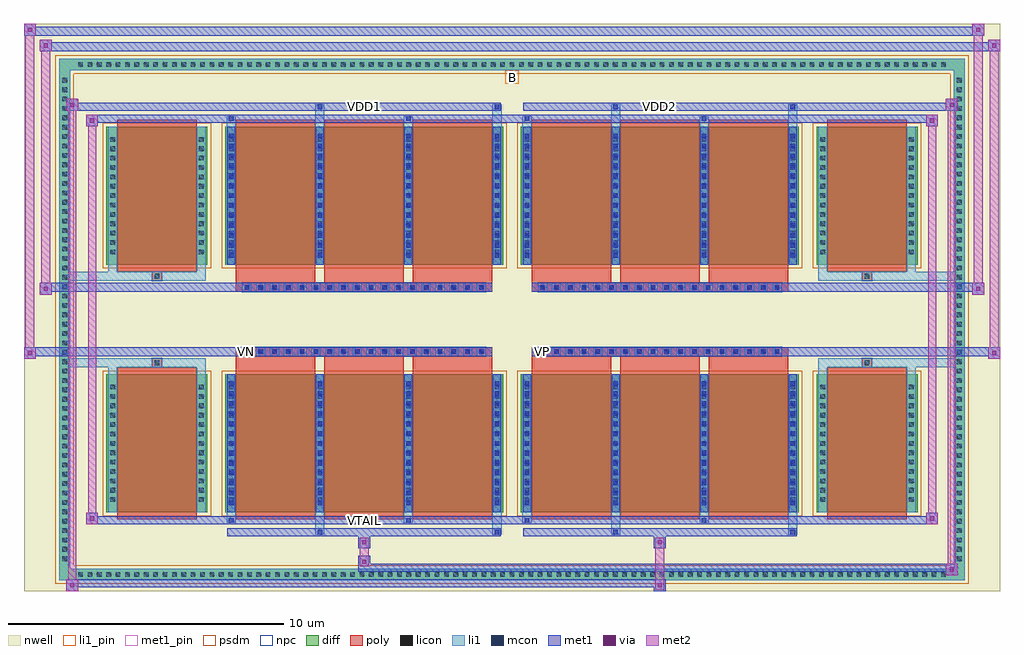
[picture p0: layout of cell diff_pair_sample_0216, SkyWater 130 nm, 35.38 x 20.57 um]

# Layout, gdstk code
import gdstk
lib = gdstk.Library(unit=1e-6, precision=5e-09)
def R(c, l, rs):  # rectangles x0, y0, x1, y1
    for r in rs: c.add(gdstk.rectangle(r[:2], r[2:], *l))
def A(c, l, x, y, w, h, nx, ny, dx, dy):  # array of equal rectangles
    R(c, l, [(x+i*dx, y+j*dy, x+i*dx+w, y+j*dy+h) for i in range(nx) for j in range(ny)])
def P(c, l, *ps):  # polygons
    for p in ps: c.add(gdstk.Polygon(p, *l))
nwell = (64, 20)
diff = (65, 20)
poly = (66, 20)
licon = (66, 44)
li1_pin = (67, 16)
li1 = (67, 20)
mcon = (67, 44)
met1_pin = (68, 16)
met1 = (68, 20)
via = (68, 44)
met2 = (69, 20)
psdm = (94, 20)
npc = (95, 20)

diff_pair_sample_0216 = lib.new_cell('diff_pair_sample_0216')
R(diff_pair_sample_0216, nwell, [(-17.69,-9.85,17.69,10.72), (-15.01,-8.04,-0.01,-0.8), (0.01,-8.04,15.01,-0.8), (-15.01,0.8,-0.01,8.04), (0.01,0.8,15.01,8.04)])
A(diff_pair_sample_0216, diff, -15.845, -9.45, 0.41, 0.41, 93, 2, 0.34, 18.49)
A(diff_pair_sample_0216, diff, -16.42, -8.875, 0.41, 0.41, 1, 52, 0, 0.34)
A(diff_pair_sample_0216, diff, 16.01, -8.875, 0.41, 0.41, 1, 52, 0, 0.34)
R(diff_pair_sample_0216, diff, [(-15.845,-9.45,15.845,-9.04), (-16.42,-8.875,-16.01,8.875), (16.01,-8.875,16.42,8.875), (-14.7,-6.995,-11.04,-1.985), (-10.4,-6.995,-0.32,-1.985), (0.32,-6.995,10.4,-1.985), (11.04,-6.995,14.7,-1.985), (-14.7,1.985,-11.04,6.995), (-10.4,1.985,-0.32,6.995), (0.32,1.985,10.4,6.995), (11.04,1.985,14.7,6.995), (-15.845,9.04,15.845,9.45)])
P(diff_pair_sample_0216, diff, [(16.42,9.45),(-16.42,9.45),(-16.42,-9.04),(-16.01,-9.04),(-16.01,9.04),(16.01,9.04),(16.01,-9.04),(-16.01,-9.04),(-16.42,-9.04),(-16.42,-9.45),(16.42,-9.45)])
A(diff_pair_sample_0216, poly, -10.01, -7.245, 2.88, 5.51, 3, 2, 3.21, 8.98)
A(diff_pair_sample_0216, poly, 0.71, -7.245, 2.88, 5.51, 3, 2, 3.21, 8.98)
A(diff_pair_sample_0216, poly, -10.01, -1.735, 2.88, 0.405, 3, 2, 3.21, 3.065)
A(diff_pair_sample_0216, poly, 0.71, -1.735, 2.88, 0.405, 3, 2, 3.21, 3.065)
A(diff_pair_sample_0216, poly, -9.775, -1.33, 0.33, 0.33, 18, 2, 0.5, 2.33)
A(diff_pair_sample_0216, poly, 0.945, -1.33, 0.33, 0.33, 18, 2, 0.5, 2.33)
R(diff_pair_sample_0216, poly, [(-14.31,-7.245,-11.43,-1.735), (11.43,-7.245,14.31,-1.735), (-13.035,-1.735,-12.705,-1.405), (-13.035,-1.735,-12.705,-1.405), (12.705,-1.735,13.035,-1.405), (12.705,-1.735,13.035,-1.405), (-10.01,-1.33,-0.71,-1), (0.71,-1.33,10.01,-1), (-10.01,1,-0.71,1.33), (0.71,1,10.01,1.33), (-13.035,1.405,-12.705,1.735), (-13.035,1.405,-12.705,1.735), (12.705,1.405,13.035,1.735), (12.705,1.405,13.035,1.735), (-14.31,1.735,-11.43,7.245), (11.43,1.735,14.31,7.245)])
A(diff_pair_sample_0216, licon, -15.725, -9.33, 0.17, 0.17, 93, 2, 0.34, 18.49)
A(diff_pair_sample_0216, licon, -16.3, -8.755, 0.17, 0.17, 1, 52, 0, 0.34)
A(diff_pair_sample_0216, licon, 16.13, -8.755, 0.17, 0.17, 1, 52, 0, 0.34)
A(diff_pair_sample_0216, licon, -14.56, -6.615, 0.17, 0.17, 1, 13, 0, 0.34)
A(diff_pair_sample_0216, licon, -11.35, -6.615, 0.17, 0.17, 1, 13, 0, 0.34)
A(diff_pair_sample_0216, licon, -10.26, -6.615, 0.17, 0.17, 4, 13, 3.21, 0.34)
A(diff_pair_sample_0216, licon, 0.46, -6.615, 0.17, 0.17, 4, 13, 3.21, 0.34)
A(diff_pair_sample_0216, licon, 11.18, -6.615, 0.17, 0.17, 1, 13, 0, 0.34)
A(diff_pair_sample_0216, licon, 14.39, -6.615, 0.17, 0.17, 1, 13, 0, 0.34)
A(diff_pair_sample_0216, licon, -9.695, -1.25, 0.17, 0.17, 18, 2, 0.5, 2.33)
A(diff_pair_sample_0216, licon, 1.025, -1.25, 0.17, 0.17, 18, 2, 0.5, 2.33)
A(diff_pair_sample_0216, licon, -14.56, 2.365, 0.17, 0.17, 1, 13, 0, 0.34)
A(diff_pair_sample_0216, licon, -11.35, 2.365, 0.17, 0.17, 1, 13, 0, 0.34)
A(diff_pair_sample_0216, licon, -10.26, 2.365, 0.17, 0.17, 4, 13, 3.21, 0.34)
A(diff_pair_sample_0216, licon, 0.46, 2.365, 0.17, 0.17, 4, 13, 3.21, 0.34)
A(diff_pair_sample_0216, licon, 11.18, 2.365, 0.17, 0.17, 1, 13, 0, 0.34)
A(diff_pair_sample_0216, licon, 14.39, 2.365, 0.17, 0.17, 1, 13, 0, 0.34)
R(diff_pair_sample_0216, licon, [(-12.955,-1.655,-12.785,-1.485), (12.785,-1.655,12.955,-1.485), (-12.955,1.485,-12.785,1.655), (12.785,1.485,12.955,1.655)])
R(diff_pair_sample_0216, li1_pin, [(-0.25,8.54,0.25,9.04)])
A(diff_pair_sample_0216, li1, -15.805, -9.41, 0.33, 0.33, 93, 2, 0.34, 18.49)
A(diff_pair_sample_0216, li1, -16.38, -8.835, 0.33, 0.33, 1, 52, 0, 0.34)
A(diff_pair_sample_0216, li1, 16.05, -8.835, 0.33, 0.33, 1, 52, 0, 0.34)
A(diff_pair_sample_0216, li1, -10.34, -6.995, 0.33, 5.01, 4, 2, 3.21, 8.98)
A(diff_pair_sample_0216, li1, 0.38, -6.995, 0.33, 5.01, 4, 2, 3.21, 8.98)
A(diff_pair_sample_0216, li1, -10.26, -6.735, 0.17, 0.17, 4, 13, 3.21, 0.36)
A(diff_pair_sample_0216, li1, -10.26, -6.735, 0.17, 4.49, 4, 2, 3.21, 8.98)
A(diff_pair_sample_0216, li1, 0.46, -6.735, 0.17, 0.17, 4, 13, 3.21, 0.36)
A(diff_pair_sample_0216, li1, 0.46, -6.735, 0.17, 4.49, 4, 2, 3.21, 8.98)
A(diff_pair_sample_0216, li1, -14.64, -6.695, 0.33, 0.33, 1, 13, 0, 0.34)
A(diff_pair_sample_0216, li1, -11.43, -6.695, 0.33, 0.33, 1, 13, 0, 0.34)
A(diff_pair_sample_0216, li1, -10.34, -6.695, 0.33, 0.33, 4, 13, 3.21, 0.34)
A(diff_pair_sample_0216, li1, 0.38, -6.695, 0.33, 0.33, 4, 13, 3.21, 0.34)
A(diff_pair_sample_0216, li1, 11.1, -6.695, 0.33, 0.33, 1, 13, 0, 0.34)
A(diff_pair_sample_0216, li1, 14.31, -6.695, 0.33, 0.33, 1, 13, 0, 0.34)
A(diff_pair_sample_0216, li1, -9.775, -1.33, 0.33, 0.33, 18, 2, 0.5, 2.33)
A(diff_pair_sample_0216, li1, 0.945, -1.33, 0.33, 0.33, 18, 2, 0.5, 2.33)
A(diff_pair_sample_0216, li1, -10.26, 2.245, 0.17, 0.17, 4, 13, 3.21, 0.36)
A(diff_pair_sample_0216, li1, 0.46, 2.245, 0.17, 0.17, 4, 13, 3.21, 0.36)
A(diff_pair_sample_0216, li1, -14.64, 2.285, 0.33, 0.33, 1, 13, 0, 0.34)
A(diff_pair_sample_0216, li1, -11.43, 2.285, 0.33, 0.33, 1, 13, 0, 0.34)
A(diff_pair_sample_0216, li1, -10.34, 2.285, 0.33, 0.33, 4, 13, 3.21, 0.34)
A(diff_pair_sample_0216, li1, 0.38, 2.285, 0.33, 0.33, 4, 13, 3.21, 0.34)
A(diff_pair_sample_0216, li1, 11.1, 2.285, 0.33, 0.33, 1, 13, 0, 0.34)
A(diff_pair_sample_0216, li1, 14.31, 2.285, 0.33, 0.33, 1, 13, 0, 0.34)
R(diff_pair_sample_0216, li1, [(-16.42,-9.45,-16.01,-9.04), (-16.42,-9.45,-16.01,-9.04), (-16.01,-9.45,16.01,-9.04), (16.01,-9.45,16.42,-9.04), (16.01,-9.45,16.42,-9.04), (-16.42,-9.04,-16.01,9.04), (16.01,-9.04,16.42,9.04), (-7.13,-7.8,-6.8,-6.995), (-7.05,-7.8,-6.88,-7.63), (-0.71,-7.8,-0.38,-6.995), (-0.63,-7.8,-0.46,-7.63), (3.59,-7.8,3.92,-6.995), (3.67,-7.8,3.84,-7.63), (10.01,-7.8,10.34,-6.995), (10.09,-7.8,10.26,-7.63), (-10.34,-7.37,-10.01,-6.995), (-10.26,-7.37,-10.09,-7.2), (-3.92,-7.37,-3.59,-6.995), (-3.84,-7.37,-3.67,-7.2), (0.38,-7.37,0.71,-6.995), (0.46,-7.37,0.63,-7.2), (6.8,-7.37,7.13,-6.995), (6.88,-7.37,7.05,-7.2), (-14.64,-6.995,-14.31,-1.985), (-11.43,-6.995,-11.1,-1.985), (11.1,-6.995,11.43,-1.985), (14.31,-6.995,14.64,-1.985), (-14.64,-1.985,-14.31,-1.405), (-11.43,-1.985,-11.1,-1.405), (11.1,-1.985,11.43,-1.405), (14.31,-1.985,14.64,-1.405), (-16.42,-1.735,-13.035,-1.405), (-14.64,-1.735,-13.035,-1.405), (-13.035,-1.735,-12.705,-1.405), (-12.705,-1.735,-11.1,-1.405), (11.1,-1.735,12.705,-1.405), (12.705,-1.735,13.035,-1.405), (12.705,-1.735,16.42,-1.405), (13.035,-1.735,14.64,-1.405), (-16.42,1.405,-13.035,1.735), (-14.64,1.405,-13.035,1.735), (-14.64,1.405,-14.31,1.985), (-13.035,1.405,-12.705,1.735), (-12.705,1.405,-11.1,1.735), (-11.43,1.405,-11.1,1.985), (11.1,1.405,12.705,1.735), (11.1,1.405,11.43,1.985), (12.705,1.405,13.035,1.735), (12.705,1.405,16.42,1.735), (13.035,1.405,14.64,1.735), (14.31,1.405,14.64,1.985), (-14.64,1.985,-14.31,6.995), (-11.43,1.985,-11.1,6.995), (11.1,1.985,11.43,6.995), (14.31,1.985,14.64,6.995), (-10.34,6.995,-10.01,7.37), (-7.13,6.995,-6.8,7.8), (-3.92,6.995,-3.59,7.37), (-0.71,6.995,-0.38,7.8), (0.38,6.995,0.71,7.37), (3.59,6.995,3.92,7.8), (6.8,6.995,7.13,7.37), (10.01,6.995,10.34,7.8), (-10.26,7.2,-10.09,7.37), (-3.84,7.2,-3.67,7.37), (0.46,7.2,0.63,7.37), (6.88,7.2,7.05,7.37), (-7.05,7.63,-6.88,7.8), (-0.63,7.63,-0.46,7.8), (3.67,7.63,3.84,7.8), (10.09,7.63,10.26,7.8), (-16.42,9.04,-16.01,9.45), (-16.42,9.04,-16.01,9.45), (-16.01,9.04,16.01,9.45), (16.01,9.04,16.42,9.45), (16.01,9.04,16.42,9.45)])
A(diff_pair_sample_0216, mcon, -10.26, -6.735, 0.17, 0.17, 4, 13, 3.21, 0.36)
A(diff_pair_sample_0216, mcon, 0.46, -6.735, 0.17, 0.17, 4, 13, 3.21, 0.36)
A(diff_pair_sample_0216, mcon, -9.695, -1.25, 0.17, 0.17, 18, 2, 0.5, 2.33)
A(diff_pair_sample_0216, mcon, 1.025, -1.25, 0.17, 0.17, 18, 2, 0.5, 2.33)
A(diff_pair_sample_0216, mcon, -10.26, 2.245, 0.17, 0.17, 4, 13, 3.21, 0.36)
A(diff_pair_sample_0216, mcon, 0.46, 2.245, 0.17, 0.17, 4, 13, 3.21, 0.36)
R(diff_pair_sample_0216, mcon, [(-7.05,-7.8,-6.88,-7.63), (-0.63,-7.8,-0.46,-7.63), (3.67,-7.8,3.84,-7.63), (10.09,-7.8,10.26,-7.63), (-10.26,-7.37,-10.09,-7.2), (-3.84,-7.37,-3.67,-7.2), (0.46,-7.37,0.63,-7.2), (6.88,-7.37,7.05,-7.2), (-10.26,7.2,-10.09,7.37), (-3.84,7.2,-3.67,7.37), (0.46,7.2,0.63,7.37), (6.88,7.2,7.05,7.37), (-7.05,7.63,-6.88,7.8), (-0.63,7.63,-0.46,7.8), (3.67,7.63,3.84,7.8), (10.09,7.63,10.26,7.8)])
R(diff_pair_sample_0216, met1_pin, [(-5.495,-7.41,-5.225,-7.14), (-9.745,-1.29,-9.475,-1.02), (0.975,-1.29,1.245,-1.02), (-5.495,7.59,-5.225,7.86), (5.225,7.59,5.495,7.86)])
A(diff_pair_sample_0216, met1, -10.32, -6.995, 0.29, 5.01, 4, 2, 3.21, 8.98)
A(diff_pair_sample_0216, met1, 0.4, -6.995, 0.29, 5.01, 4, 2, 3.21, 8.98)
A(diff_pair_sample_0216, met1, -10.32, -6.795, 0.29, 0.29, 4, 13, 3.21, 0.36)
A(diff_pair_sample_0216, met1, 0.4, -6.795, 0.29, 0.29, 4, 13, 3.21, 0.36)
A(diff_pair_sample_0216, met1, -9.755, -1.31, 0.29, 0.29, 18, 2, 0.5, 2.33)
A(diff_pair_sample_0216, met1, 0.965, -1.31, 0.29, 0.29, 18, 2, 0.5, 2.33)
A(diff_pair_sample_0216, met1, -10.32, 2.185, 0.29, 0.29, 4, 13, 3.21, 0.36)
A(diff_pair_sample_0216, met1, 0.4, 2.185, 0.29, 0.29, 4, 13, 3.21, 0.36)
R(diff_pair_sample_0216, met1, [(-16.15,-9.85,-15.72,-9.42), (5.145,-9.85,5.575,-9.42), (-16.15,-9.71,5.575,-9.42), (15.72,-9.28,16.15,-8.85), (-5.575,-9.14,16.15,-8.85), (-5.575,-9,-5.145,-8.57), (-5.575,-8.29,-5.145,-7.86), (5.145,-8.29,5.575,-7.86), (-10.32,-7.86,-0.4,-7.57), (-7.11,-7.86,-6.82,-7.57), (-0.69,-7.86,-0.4,-7.57), (0.4,-7.86,10.32,-7.57), (3.61,-7.86,3.9,-7.57), (10.03,-7.86,10.32,-7.57), (-15.44,-7.43,-15.01,-7), (-15.44,-7.43,-10.32,-7.14), (-10.32,-7.43,-10.03,-7.14), (-10.32,-7.43,-0.4,-7.14), (-3.9,-7.43,-3.61,-7.14), (-0.4,-7.43,0.4,-7.14), (0.4,-7.43,0.69,-7.14), (0.4,-7.43,10.32,-7.14), (6.82,-7.43,7.11,-7.14), (10.32,-7.43,15.44,-7.14), (15.01,-7.43,15.44,-7), (-17.69,-1.43,-17.26,-1), (17.26,-1.43,17.69,-1), (-17.69,-1.33,-0.71,-1), (-10.01,-1.33,-0.71,-1), (0.71,-1.33,10.01,-1), (0.71,-1.33,17.69,-1), (-17.12,0.9,-16.69,1.33), (16.69,0.9,17.12,1.33), (-17.12,1,-10.01,1.33), (-10.01,1,-0.71,1.33), (0.71,1,10.01,1.33), (10.01,1,17.12,1.33), (-15.44,7,-15.01,7.43), (15.01,7,15.44,7.43), (-15.44,7.14,-10.32,7.43), (-10.32,7.14,-10.03,7.43), (-10.32,7.14,-0.4,7.43), (-3.9,7.14,-3.61,7.43), (-0.4,7.14,0.4,7.43), (0.4,7.14,0.69,7.43), (0.4,7.14,10.32,7.43), (6.82,7.14,7.11,7.43), (10.32,7.14,15.44,7.43), (-16.15,7.57,-15.72,8), (-16.15,7.57,-10.32,7.86), (-10.32,7.57,-0.4,7.86), (-7.11,7.57,-6.82,7.86), (-0.69,7.57,-0.4,7.86), (0.4,7.57,10.32,7.86), (3.61,7.57,3.9,7.86), (10.03,7.57,10.32,7.86), (10.32,7.57,16.15,7.86), (15.72,7.57,16.15,8), (-17.12,9.72,-16.69,10.15), (-17.12,9.72,-15.01,10.05), (-15.01,9.72,15.01,10.05), (15.01,9.72,17.69,10.05), (17.26,9.72,17.69,10.15), (-17.69,10.29,-17.26,10.72), (-17.69,10.29,-15.01,10.62), (-15.01,10.29,15.01,10.62), (15.01,10.29,17.12,10.62), (16.69,10.29,17.12,10.72)])
R(diff_pair_sample_0216, via, [(-16.01,-9.71,-15.86,-9.56), (5.285,-9.71,5.435,-9.56), (15.86,-9.14,16.01,-8.99), (-5.435,-8.86,-5.285,-8.71), (-5.435,-8.15,-5.285,-8), (5.285,-8.15,5.435,-8), (-15.3,-7.29,-15.15,-7.14), (15.15,-7.29,15.3,-7.14), (-17.55,-1.29,-17.4,-1.14), (17.4,-1.29,17.55,-1.14), (-16.98,1.04,-16.83,1.19), (16.83,1.04,16.98,1.19), (-15.3,7.14,-15.15,7.29), (15.15,7.14,15.3,7.29), (-16.01,7.71,-15.86,7.86), (15.86,7.71,16.01,7.86), (-16.98,9.86,-16.83,10.01), (17.4,9.86,17.55,10.01), (-17.55,10.43,-17.4,10.58), (16.83,10.43,16.98,10.58)])
R(diff_pair_sample_0216, met2, [(-16.15,-9.85,-15.72,-9.42), (-16.08,-9.85,-15.79,8), (-15.79,-9.85,-15.72,-9.42), (-16.1,-9.8,-15.77,-9.47), (5.195,-9.8,5.525,-9.47), (5.195,-9.47,5.525,-8.24), (15.72,-9.28,16.15,-8.85), (15.79,-9.28,16.08,8), (16.08,-9.28,16.15,-8.85), (15.77,-9.23,16.1,-8.9), (-5.525,-8.95,-5.195,-8.62), (-5.525,-8.62,-5.195,-8.24), (-5.525,-8.24,-5.195,-7.91), (5.195,-8.24,5.525,-7.91), (-15.44,-7.43,-15.01,-7), (-15.37,-7.43,-15.08,7.43), (-15.08,-7.43,-15.01,-7), (15.01,-7.43,15.44,-7), (15.08,-7.43,15.37,7.43), (15.37,-7.43,15.44,-7), (-15.39,-7.38,-15.06,-7.05), (15.06,-7.38,15.39,-7.05), (-17.69,-1.43,-17.26,-1), (-17.64,-1.43,-17.31,10.72), (-17.31,-1.43,-17.26,-1), (17.26,-1.43,17.69,-1), (17.31,-1.43,17.64,10.15), (17.64,-1.43,17.69,-1), (-17.64,-1.38,-17.31,-1.05), (17.31,-1.38,17.64,-1.05), (-17.12,0.9,-16.69,1.33), (-17.07,0.9,-16.74,10.15), (-16.74,0.9,-16.69,1.33), (16.69,0.9,17.12,1.33), (16.74,0.9,17.07,10.72), (17.07,0.9,17.12,1.33), (-17.07,0.95,-16.74,1.28), (16.74,0.95,17.07,1.28), (-15.44,7,-15.01,7.43), (-15.08,7,-15.01,7.43), (15.01,7,15.44,7.43), (15.37,7,15.44,7.43), (-15.39,7.05,-15.06,7.38), (15.06,7.05,15.39,7.38), (-16.15,7.57,-15.72,8), (-15.79,7.57,-15.72,8), (15.72,7.57,16.15,8), (16.08,7.57,16.15,8), (-16.1,7.62,-15.77,7.95), (15.77,7.62,16.1,7.95), (-17.12,9.72,-16.69,10.15), (-16.74,9.72,-16.69,10.15), (17.26,9.72,17.69,10.15), (17.64,9.72,17.69,10.15), (-17.07,9.77,-16.74,10.1), (17.31,9.77,17.64,10.1), (-17.69,10.29,-17.26,10.72), (-17.31,10.29,-17.26,10.72), (16.69,10.29,17.12,10.72), (17.07,10.29,17.12,10.72), (-17.64,10.34,-17.31,10.67), (16.74,10.34,17.07,10.67)])
R(diff_pair_sample_0216, psdm, [(-14.83,-7.125,-10.91,-1.855), (-10.53,-7.125,-0.19,-1.855), (0.19,-7.125,10.53,-1.855), (10.91,-7.125,14.83,-1.855), (-14.83,1.855,-10.91,7.125), (-10.53,1.855,-0.19,7.125), (0.19,1.855,10.53,7.125), (10.91,1.855,14.83,7.125)])
P(diff_pair_sample_0216, psdm, [(16.55,9.58),(-16.55,9.58),(-16.55,-8.91),(-15.88,-8.91),(-15.88,8.91),(15.88,8.91),(15.88,-8.91),(-15.88,-8.91),(-16.55,-8.91),(-16.55,-9.58),(16.55,-9.58)])
A(diff_pair_sample_0216, npc, -9.795, -1.35, 0.37, 0.37, 18, 2, 0.5, 2.33)
A(diff_pair_sample_0216, npc, 0.925, -1.35, 0.37, 0.37, 18, 2, 0.5, 2.33)
R(diff_pair_sample_0216, npc, [(-13.055,-1.755,-12.685,-1.385), (12.685,-1.755,13.055,-1.385), (-9.795,-1.35,-8.925,-0.98), (-9.795,-1.35,-8.925,-0.98), (-9.295,-1.35,-8.425,-0.98), (-9.295,-1.35,-8.425,-0.98), (-8.795,-1.35,-7.925,-0.98), (-8.795,-1.35,-7.925,-0.98), (-8.295,-1.35,-7.425,-0.98), (-8.295,-1.35,-7.425,-0.98), (-7.795,-1.35,-6.925,-0.98), (-7.795,-1.35,-6.925,-0.98), (-7.295,-1.35,-6.425,-0.98), (-7.295,-1.35,-6.425,-0.98), (-6.795,-1.35,-5.925,-0.98), (-6.795,-1.35,-5.925,-0.98), (-6.295,-1.35,-5.425,-0.98), (-6.295,-1.35,-5.425,-0.98), (-5.795,-1.35,-4.925,-0.98), (-5.795,-1.35,-4.925,-0.98), (-5.295,-1.35,-4.425,-0.98), (-5.295,-1.35,-4.425,-0.98), (-4.795,-1.35,-3.925,-0.98), (-4.795,-1.35,-3.925,-0.98), (-4.295,-1.35,-3.425,-0.98), (-4.295,-1.35,-3.425,-0.98), (-3.795,-1.35,-2.925,-0.98), (-3.795,-1.35,-2.925,-0.98), (-3.295,-1.35,-2.425,-0.98), (-3.295,-1.35,-2.425,-0.98), (-2.795,-1.35,-1.925,-0.98), (-2.795,-1.35,-1.925,-0.98), (-2.295,-1.35,-1.425,-0.98), (-2.295,-1.35,-1.425,-0.98), (-1.795,-1.35,-0.925,-0.98), (-1.795,-1.35,-0.925,-0.98), (0.925,-1.35,1.795,-0.98), (0.925,-1.35,1.795,-0.98), (1.425,-1.35,2.295,-0.98), (1.425,-1.35,2.295,-0.98), (1.925,-1.35,2.795,-0.98), (1.925,-1.35,2.795,-0.98), (2.425,-1.35,3.295,-0.98), (2.425,-1.35,3.295,-0.98), (2.925,-1.35,3.795,-0.98), (2.925,-1.35,3.795,-0.98), (3.425,-1.35,4.295,-0.98), (3.425,-1.35,4.295,-0.98), (3.925,-1.35,4.795,-0.98), (3.925,-1.35,4.795,-0.98), (4.425,-1.35,5.295,-0.98), (4.425,-1.35,5.295,-0.98), (4.925,-1.35,5.795,-0.98), (4.925,-1.35,5.795,-0.98), (5.425,-1.35,6.295,-0.98), (5.425,-1.35,6.295,-0.98), (5.925,-1.35,6.795,-0.98), (5.925,-1.35,6.795,-0.98), (6.425,-1.35,7.295,-0.98), (6.425,-1.35,7.295,-0.98), (6.925,-1.35,7.795,-0.98), (6.925,-1.35,7.795,-0.98), (7.425,-1.35,8.295,-0.98), (7.425,-1.35,8.295,-0.98), (7.925,-1.35,8.795,-0.98), (7.925,-1.35,8.795,-0.98), (8.425,-1.35,9.295,-0.98), (8.425,-1.35,9.295,-0.98), (8.925,-1.35,9.795,-0.98), (8.925,-1.35,9.795,-0.98), (-9.795,0.98,-8.925,1.35), (-9.795,0.98,-8.925,1.35), (-9.295,0.98,-8.425,1.35), (-9.295,0.98,-8.425,1.35), (-8.795,0.98,-7.925,1.35), (-8.795,0.98,-7.925,1.35), (-8.295,0.98,-7.425,1.35), (-8.295,0.98,-7.425,1.35), (-7.795,0.98,-6.925,1.35), (-7.795,0.98,-6.925,1.35), (-7.295,0.98,-6.425,1.35), (-7.295,0.98,-6.425,1.35), (-6.795,0.98,-5.925,1.35), (-6.795,0.98,-5.925,1.35), (-6.295,0.98,-5.425,1.35), (-6.295,0.98,-5.425,1.35), (-5.795,0.98,-4.925,1.35), (-5.795,0.98,-4.925,1.35), (-5.295,0.98,-4.425,1.35), (-5.295,0.98,-4.425,1.35), (-4.795,0.98,-3.925,1.35), (-4.795,0.98,-3.925,1.35), (-4.295,0.98,-3.425,1.35), (-4.295,0.98,-3.425,1.35), (-3.795,0.98,-2.925,1.35), (-3.795,0.98,-2.925,1.35), (-3.295,0.98,-2.425,1.35), (-3.295,0.98,-2.425,1.35), (-2.795,0.98,-1.925,1.35), (-2.795,0.98,-1.925,1.35), (-2.295,0.98,-1.425,1.35), (-2.295,0.98,-1.425,1.35), (-1.795,0.98,-0.925,1.35), (-1.795,0.98,-0.925,1.35), (0.925,0.98,1.795,1.35), (0.925,0.98,1.795,1.35), (1.425,0.98,2.295,1.35), (1.425,0.98,2.295,1.35), (1.925,0.98,2.795,1.35), (1.925,0.98,2.795,1.35), (2.425,0.98,3.295,1.35), (2.425,0.98,3.295,1.35), (2.925,0.98,3.795,1.35), (2.925,0.98,3.795,1.35), (3.425,0.98,4.295,1.35), (3.425,0.98,4.295,1.35), (3.925,0.98,4.795,1.35), (3.925,0.98,4.795,1.35), (4.425,0.98,5.295,1.35), (4.425,0.98,5.295,1.35), (4.925,0.98,5.795,1.35), (4.925,0.98,5.795,1.35), (5.425,0.98,6.295,1.35), (5.425,0.98,6.295,1.35), (5.925,0.98,6.795,1.35), (5.925,0.98,6.795,1.35), (6.425,0.98,7.295,1.35), (6.425,0.98,7.295,1.35), (6.925,0.98,7.795,1.35), (6.925,0.98,7.795,1.35), (7.425,0.98,8.295,1.35), (7.425,0.98,8.295,1.35), (7.925,0.98,8.795,1.35), (7.925,0.98,8.795,1.35), (8.425,0.98,9.295,1.35), (8.425,0.98,9.295,1.35), (8.925,0.98,9.795,1.35), (8.925,0.98,9.795,1.35), (-13.055,1.385,-12.685,1.755), (12.685,1.385,13.055,1.755)])
diff_pair_sample_0216.add(gdstk.Label('VTAIL', (-5.36,-7.275), layer=68, texttype=5))
diff_pair_sample_0216.add(gdstk.Label('VN', (-9.61,-1.155), layer=68, texttype=5))
diff_pair_sample_0216.add(gdstk.Label('VP', (1.11,-1.155), layer=68, texttype=5))
diff_pair_sample_0216.add(gdstk.Label('B', (0,8.79), layer=67, texttype=5))
diff_pair_sample_0216.add(gdstk.Label('VDD2', (5.36,7.725), layer=68, texttype=5))
diff_pair_sample_0216.add(gdstk.Label('VDD1', (-5.36,7.725), layer=68, texttype=5))

lib.write_gds('diff_pair_sample_0216.gds')
